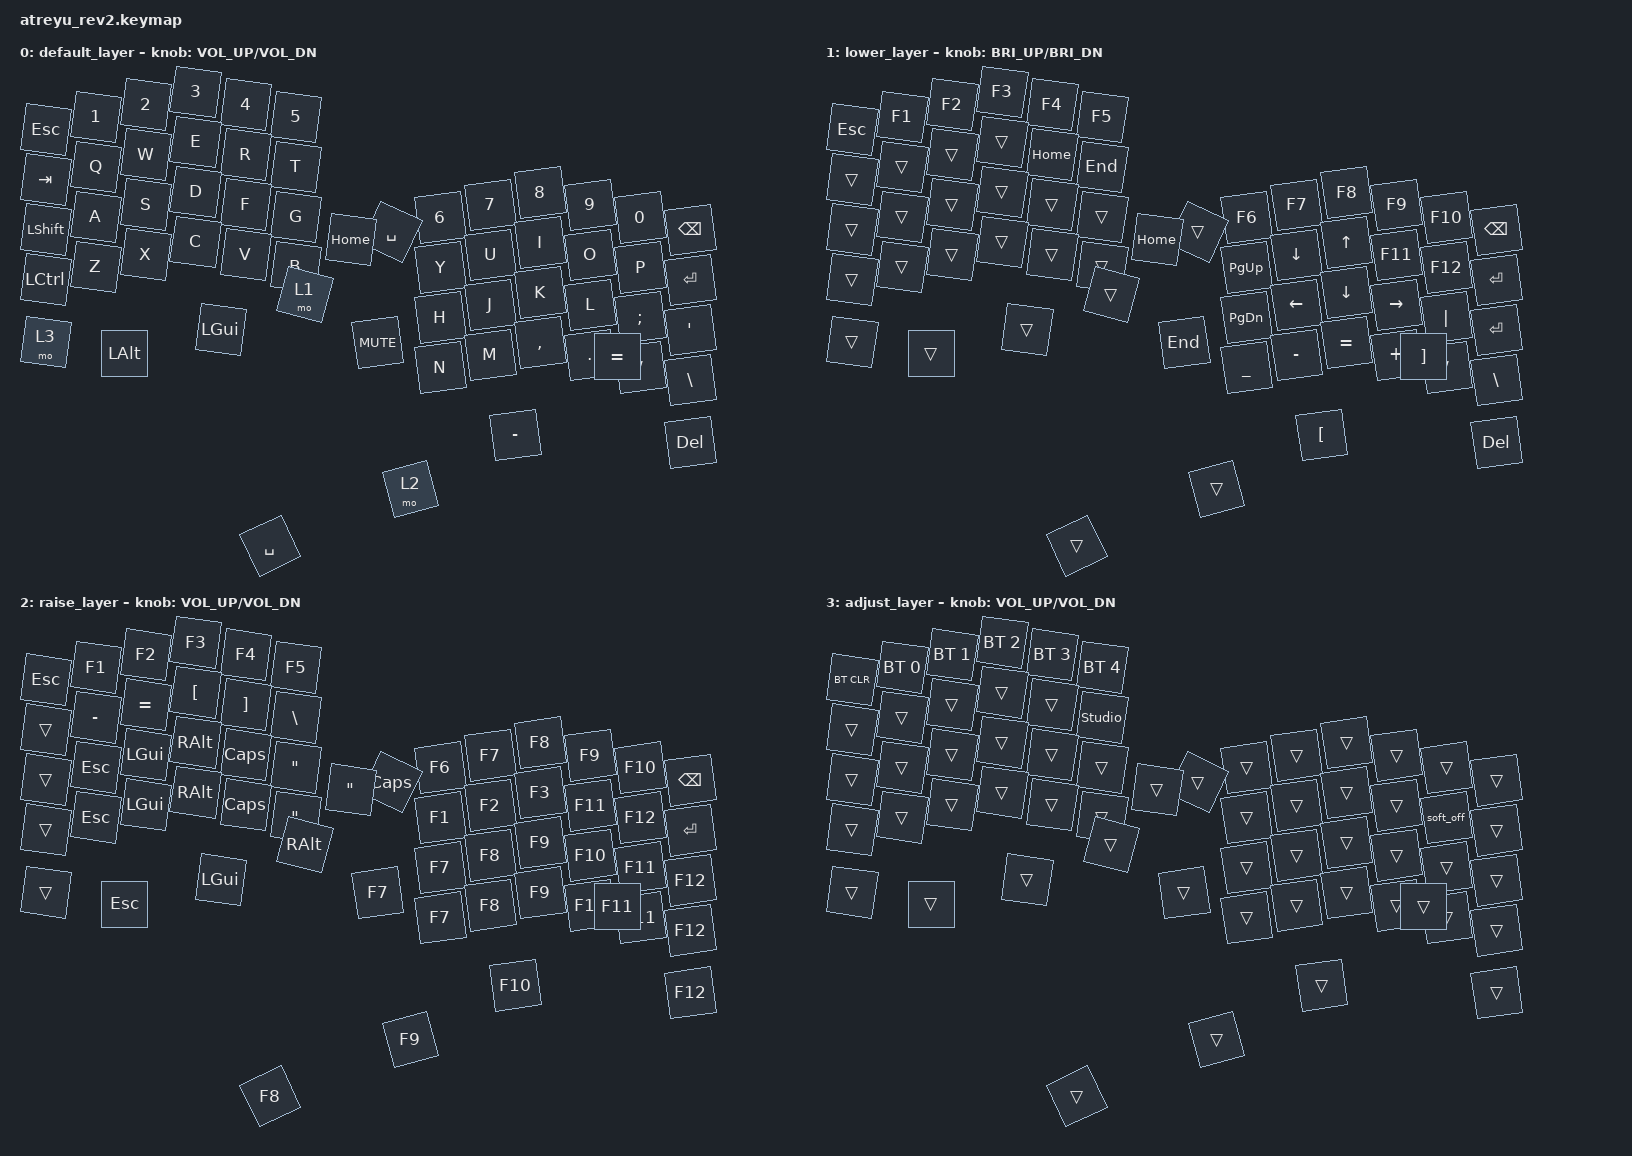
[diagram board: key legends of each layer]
/*
 * Copyright (c) 2020 The ZMK Contributors
 *
 * SPDX-License-Identifier: MIT
 */

#include <behaviors.dtsi>
#include <dt-bindings/zmk/keys.h>
#include <dt-bindings/zmk/bt.h>
#include <dt-bindings/zmk/outputs.h>

#define BASE 0
#define LOWER 1
#define RAISE 2
#define ADJUST 3

/ {
    conditional_layers {
        compatible = "zmk,conditional-layers";
        tri_layer {
            if-layers = <1 2>;
            then-layer = <3>;
        };
    };
};

/ {
        keymap {
                compatible = "zmk,keymap";

                default_layer {
                        bindings = <
   &kp ESC   &kp N1    &kp N2   &kp N3   &kp N4      &kp N5      &kp N6     &kp N7     &kp N8    &kp N9    &kp N0    &kp BSPC
   &kp TAB   &kp Q     &kp W    &kp E    &kp R       &kp T       &kp Y      &kp U      &kp I     &kp O     &kp P     &kp RET
   &kp LSHFT &kp A     &kp S    &kp D    &kp F       &kp G       &kp H      &kp J      &kp K     &kp L     &kp SEMI  &kp SQT
   &kp LCTRL &kp Z     &kp X    &kp C    &kp V       &kp B       &kp N      &kp M      &kp COMMA &kp DOT   &kp FSLH  &kp BSLH
   &mo 3     &kp LALT  &kp LGUI &mo 1    &kp SPACE   &kp HOME    &kp K_MUTE &kp SPACE  &mo 2     &kp MINUS &kp EQUAL &kp DEL
                        >;
			sensor-bindings = <&inc_dec_kp C_VOL_UP C_VOL_DN>;
                };

                lower_layer {
                        bindings = <
   &kp ESC &kp F1 &kp F2 &kp F3 &kp F4   &kp F5        &kp F6    &kp F7    &kp F8    &kp F9    &kp F10   &kp BSPC
   &trans  &trans &trans &trans &kp HOME &kp END       &kp PG_UP &kp DOWN  &kp UP    &kp F11   &kp F12   &kp RET
   &trans  &trans &trans &trans &trans   &trans        &kp PG_DN &kp LEFT  &kp DOWN  &kp RIGHT &kp PIPE  &kp RET
   &trans  &trans &trans &trans &trans   &trans        &kp UNDER &kp MINUS &kp EQUAL &kp PLUS  &kp FSLH  &kp BSLH
   &trans  &trans &trans &trans &trans   &kp HOME      &kp END   &trans    &trans    &kp LBKT  &kp RBKT  &kp DEL
                        >;
			sensor-bindings = <&inc_dec_kp C_BRI_UP C_BRI_DN>;
                };

                raise_layer {
// -----------------------------------------------------------------------------------------
// |    |  1  |  2  |  3  |  4  |  5  |   |  6  |  7  |  8  |  9  |  0  | DEL |
// |    |  -  |  =  |  [  |  ]  |  \  |   | F1  | F2  | F3  | F4  | F5  | F6  |
// |    | ESC | GUI | ALT | CAPS|  "  |   | F7  | F8  | F9  | F10 | F11 | F12 |
//                       |     | ADJ | BKSP |    |     |
                        bindings = <
   &kp ESC &kp F1    &kp F2    &kp F3    &kp F4    &kp F5        &kp F6    &kp F7    &kp F8    &kp F9    &kp F10   &kp BSPC
   &trans  &kp MINUS &kp EQUAL &kp LBKT  &kp RBKT  &kp BSLH      &kp F1    &kp F2    &kp F3    &kp F11   &kp F12   &kp RET
   &trans  &kp ESC   &kp LGUI  &kp RALT  &kp CLCK  &kp DQT       &kp F7    &kp F8    &kp F9    &kp F10   &kp F11   &kp F12
   &trans  &kp ESC   &kp LGUI  &kp RALT  &kp CLCK  &kp DQT       &kp F7    &kp F8    &kp F9    &kp F10   &kp F11   &kp F12
   &trans  &kp ESC   &kp LGUI  &kp RALT  &kp CLCK  &kp DQT       &kp F7    &kp F8    &kp F9    &kp F10   &kp F11   &kp F12
                        >;
			sensor-bindings = <&inc_dec_kp C_VOL_UP C_VOL_DN>;
                };

                adjust_layer {
// -----------------------------------------------------------------------------------------
// | RGB BRI+ | RGB SAT+ | RGB HUE+ | RGB ANI+ |    | RGB TOG |   |  BT1  | BT2 | BT3 | BT4 | BT5 | BT CLR |
// | RGB BRI- | RGB SAT- | RGB HUE- | RGB ANI- |    |         |   |       |     |     |     |     |        |
// |          |          |          |          |    |         |   | RESET |     |     |     |     |        |
//                                              |     |     |     |     |     |
                        bindings = <
   &bt BT_CLR &bt BT_SEL 0 &bt BT_SEL 1 &bt BT_SEL 2 &bt BT_SEL 3 &bt BT_SEL 4         &trans &trans &trans &trans &trans   &trans
   &trans     &trans       &trans       &trans       &trans       &studio_unlock       &trans &trans &trans &trans &soft_off   &trans
   &trans     &trans       &trans       &trans       &trans       &trans               &trans &trans &trans &trans &trans   &trans
   &trans     &trans       &trans       &trans       &trans       &trans               &trans &trans &trans &trans &trans   &trans
   &trans     &trans       &trans       &trans       &trans       &trans               &trans &trans &trans &trans &trans   &trans
                        >;
			sensor-bindings = <&inc_dec_kp C_VOL_UP C_VOL_DN>;
               };
    };

    conditional_layers { compatible = "zmk,conditional-layers"; };
};
